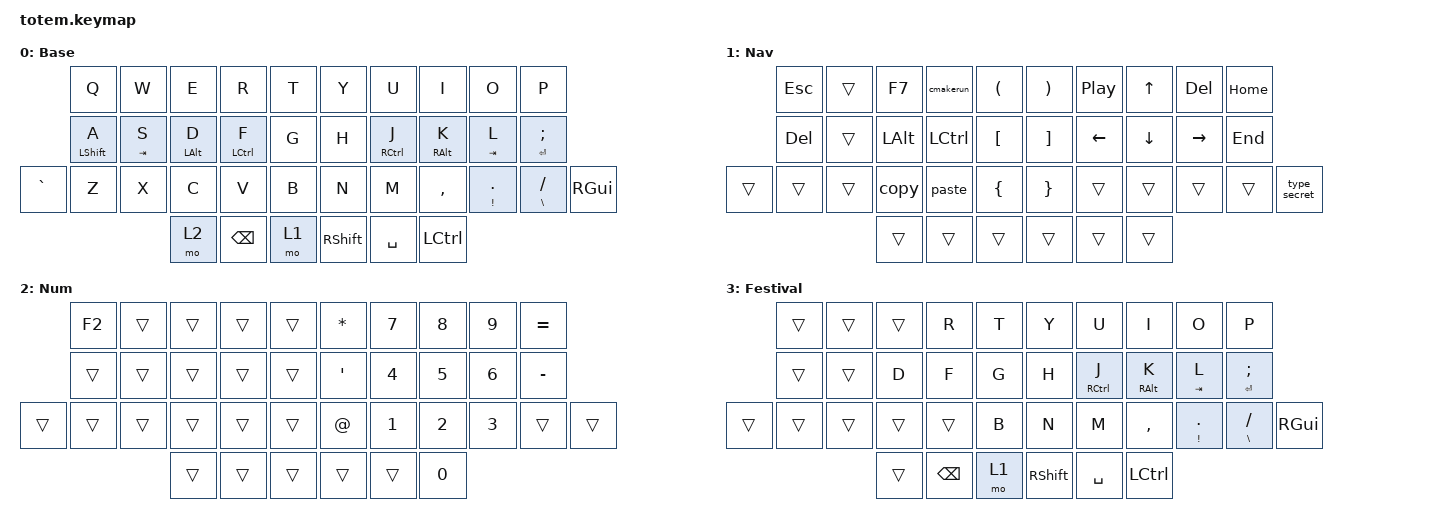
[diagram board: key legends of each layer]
//
//                                                        ▀▀▀▀▀     ▀▀▀▀▀          ▀▀█▀▀
//                                                        ▄▀▀▀▄  ▄  ▄▀▀▀▄  ▄  ▄▀▀▀▄  █  ▄▀▀▀▄
//                                                        █   █  █  █   █  █  █   █  █  █   █
//                                                         ▀▀▀   █   ▀▀▀   █   ▀▀▀   ▀   ▀▀▀
//                                                               █      ▄▄▄█▄▄▄    █   █  
//                                                               ▀      █  █  █     █▄█
//                                                             ▀▀▀▀▀    █  █  █      ▀
//                                                                      ▀  ▀  ▀
//
// ▄▄▄▄▄▄▄▄▄▄▄▄▄▄▄▄▄▄▄▄▄▄▄▄▄▄▄▄▄▄▄▄▄▄▄▄▄▄▄▄▄▄▄▄▄▄▄▄▄▄▄▄▄▄▄▄▄▄▄▄▄▄▄▄▄▄▄▄▄▄▄▄▄▄▄▄▄▄▄▄▄▄▄▄▄▄▄▄▄▄▄▄▄▄▄▄▄▄▄▄▄▄▄▄▄▄▄▄▄▄▄▄▄▄▄▄▄▄▄▄▄▄▄▄▄▄▄▄▄▄▄▄▄▄▄▄▄▄▄▄▄▄▄▄▄▄▄▄▄

#include <behaviors.dtsi>
#include <dt-bindings/zmk/keys.h>

#define Base        0
#define Nav         1
#define Num         2
#define Fest        3


&mt {
    quick-tap-ms = <100>;
    require-prior-idle-ms = <125>;
    flavor = "tap-preferred";
    tapping-term-ms = <170>;
};

&lt {
    tapping-term-ms = <240>;
    flavor = "balanced";
    quick-tap-ms = <150>;
};

/ {
    behaviors {
        hm: homerow_mods {
            compatible = "zmk,behavior-hold-tap";
            label = "HOMEROW_MODS";
            #binding-cells = <2>;
            flavor = "tap-preferred";
            tapping-term-ms = <250>;
            quick-tap-ms = <125>;
            global-quick-tap;
            bindings = <&kp>, <&kp>;
        };
    };

    combos { 
        compatible = "zmk,combos";
        combo_enter {
            timeout-ms = <50>;
            key-positions = <18 19>;
            bindings = <&kp ENTER>;
        };
     };

    macros {
        copy: copy {
            compatible = "zmk,behavior-macro";
            #binding-cells = <0>;
            bindings
                = <&macro_press &kp LCTRL>
                , <&macro_tap &kp C>
                , <&macro_release &kp LCTRL>
                ;
        };

        paste: paste {
            compatible = "zmk,behavior-macro";
            #binding-cells = <0>;
            bindings
                = <&macro_press &kp LCTRL>
                , <&macro_tap &kp V>
                , <&macro_release &kp LCTRL>
                ;
        };

        cmakerun: cmakerun {
            compatible = "zmk,behavior-macro";
            #binding-cells = <0>;
            bindings
                = <&macro_press &kp LCTRL &kp LSHIFT>
                , <&macro_tap &kp F5>
                , <&macro_release &kp LCTRL &kp LSHIFT>
                ;
        };

        type_secret: type_secret {
            compatible = "zmk,behavior-macro";
            #binding-cells = <0>;
            wait-ms = <10>;
            tap-ms = <10>;
            bindings
            = <&kp T>
            , <&kp LS(S)>
            , <&kp SLASH>
            , <&kp LESS_THAN>
            , <&kp N2>
            , <&kp I>
            , <&kp I>
            , <&kp B>
            , <&kp UNDERSCORE>
            , <&kp TILDE>
            , <&kp C>
            , <&kp LS(R)>
            , <&kp I>
            , <&kp V>
            , <&kp LS(D)>
            , <&kp SEMICOLON>
            , <&kp LS(T)>
            , <&kp N3>
            , <&kp N6>
            , <&kp DOT>
            ;
        };
    };


    keymap {
        compatible = "zmk,keymap";

        Base {
            display-name = "Base";
            // ---------------------------------------------------------------------------------------------------------------------------------------------------------
            // |           |     Q     |     W     |     E     |     R     |     T     |     Y     |     U     |     I     |     O     |     P     |           |
            // |           |     A     |   S/TAB   |  D/LALT   | F/LCTRL   |     G     |     H     | J/RCTRL   |  K/RALT   |   L/TAB   | ;(ENTER)  |           |
            // |   `/~     |     Z     |     X     |     C     |     V     |     B     |     N     |     M     |     ,     |   ./[!]   |    //\    |   RGUI    |
            // |                                   |    NUM    |   BSPC    |    NAV    |  RSHIFT   |   SPACE   |           |                                   |
            bindings = <
                &kp Q       &kp W       &kp E          &kp R         &kp T        &kp Y       &kp U        &kp I        &kp O                    &kp P
                &hm LSHIFT A   &hm TAB S   &hm LALT D     &hm LCTRL F   &kp G        &kp H       &hm RCTRL J  &hm RALT K   &hm TAB L                &mt ENTER SEMICOLON
&kp GRAVE       &kp Z       &kp X       &kp C          &kp V         &kp B        &kp N       &kp M        &kp COMMA    &mt EXCLAMATION DOT      &mt BACKSLASH SLASH   &kp RGUI
                                    &mo 2          &kp BSPC      &mo 1        &kp RSHIFT  &kp SPACE    &kp LCTRL
            >;
        };

        Nav {
            display-name = "Nav";
            // ---------------------------------------------------------------------------------------------------------------------------------------------------------
            // |           |    ESC    |    F7     |  cmakerun |           |      (    |     )     |   PAUSE   |    UP     |    DEL    |    HOME   |           |
            // |           |    DEL    |           |    ctrl   |           |      [    |     ]     |   LEFT    |   DOWN    |   RIGHT   |    END    |           |
            // |           |           |           |    copy   |   paste   |      {    |     }     |           |           |           |           |           |
            // |                                   |           |           |           |           |           |           |                                   |
            bindings = <
                &kp ESC   &trans  &kp F7    &cmakerun   &kp LPAR    &kp RPAR  &kp C_PP       &kp UP_ARROW    &kp DEL         &kp HOME
                &kp DEL   &trans  &kp LALT  &kp LCTRL   &kp LBKT    &kp RBKT  &kp LEFT_ARROW &kp DOWN_ARROW  &kp RIGHT_ARROW &kp END 
&trans          &trans    &trans  &copy     &paste      &kp LBRC    &kp RBRC  &trans         &trans          &trans          &trans  &type_secret
                                  &trans    &trans      &trans      &trans    &trans         &trans
            >;
        };

        Num {
            display-name = "Num";
            // ---------------------------------------------------------------------------------------------------------------------------------------------------------
            // |     F2    |           |           |           |           |           |     *     |     7     |     8     |     9     |    =/+    |           |
            // |           |           |           |           |           |           |    '/"    |     4     |     5     |     6     |    -/_    |           |
            // |           |           |           |           |           |           |     @     |     1     |     2     |     3     |           |           |
            // |                                   |           |           |           |           |           |     0     |                                   |
            bindings = <
                &kp F2       &trans     &trans      &trans    &trans      &kp ASTERISK      &kp NUMBER_7  &kp NUMBER_8  &kp NUMBER_9  &kp EQUAL
                &trans       &trans     &trans      &trans    &trans      &kp SINGLE_QUOTE  &kp NUMBER_4  &kp NUMBER_5  &kp NUMBER_6  &kp MINUS
&trans          &trans       &trans     &trans      &trans    &trans      &kp AT            &kp NUMBER_1  &kp NUMBER_2  &kp NUMBER_3  &trans  &trans
                                        &trans      &trans    &trans      &trans            &trans        &kp NUMBER_0
                                  
            >;
        };

        Fest {
            display-name = "Festival";
            // ---------------------------------------------------------------------------------------------------------------------------------------------------------
            // |           |     Q     |     W     |     E     |     R     |     T     |     Y     |     U     |     I     |     O     |     P     |           |
            // |           |     A     |   S/TAB   |  D/LALT   | F/LCTRL   |     G     |     H     | J/RCTRL   |  K/RALT   |   L/TAB   | ;(ENTER)  |           |
            // |   `/~     |     Z     |     X     |     C     |     V     |     B     |     N     |     M     |     ,     |   ./[!]   |    //\    |   RGUI    |
            // |                                   |    NUM    |   BSPC    |    NAV    |  RSHIFT   |   SPACE   |           |                                   |
            bindings = <
                &trans   &trans   &trans    &kp R         &kp T        &kp Y       &kp U        &kp I        &kp O                    &kp P
                &trans   &trans   &kp D     &kp F   &kp G        &kp H       &hm RCTRL J  &hm RALT K   &hm TAB L                &mt ENTER SEMICOLON
&trans          &trans   &trans   &trans    &trans        &kp B        &kp N       &kp M        &kp COMMA    &mt EXCLAMATION DOT      &mt BACKSLASH SLASH   &kp RGUI
                                  &trans          &kp BSPC      &mo 1        &kp RSHIFT  &kp SPACE    &kp LCTRL
            >;
        };
    };
};

